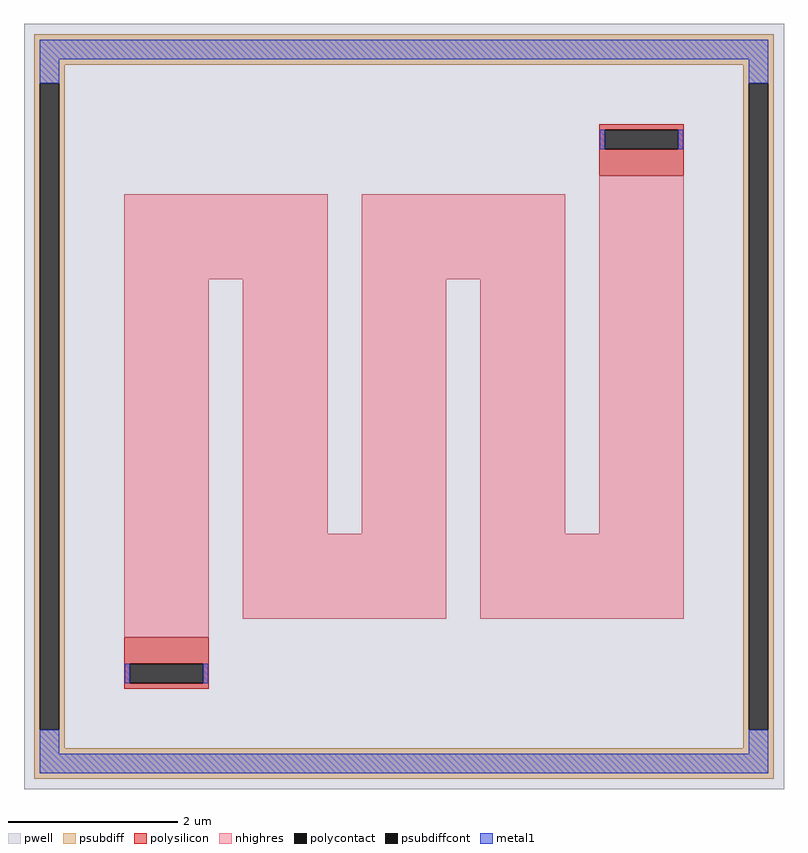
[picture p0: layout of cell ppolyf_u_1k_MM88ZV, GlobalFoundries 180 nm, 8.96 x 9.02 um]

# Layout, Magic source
magic
tech gf180mcuD
magscale 1 10
<< pwell >>
rect -896 -902 896 902
<< psubdiff >>
rect -872 806 872 878
rect -872 762 -800 806
rect -872 -762 -859 762
rect -813 -762 -800 762
rect 800 762 872 806
rect -872 -806 -800 -762
rect 800 -762 813 762
rect 859 -762 872 762
rect 800 -806 872 -762
rect -872 -878 872 -806
<< psubdiffcont >>
rect -859 -762 -813 762
rect 813 -762 859 762
<< polysilicon >>
rect 460 653 660 666
rect 460 607 473 653
rect 647 607 660 653
rect 460 544 660 607
rect -660 -607 -460 -544
rect -660 -653 -647 -607
rect -473 -653 -460 -607
rect -660 -666 -460 -653
<< polycontact >>
rect 473 607 647 653
rect -647 -653 -473 -607
<< nhighres >>
rect -660 300 -180 500
rect -660 -544 -460 300
rect -380 -300 -180 300
rect -100 300 380 500
rect -100 -300 100 300
rect -380 -500 100 -300
rect 180 -300 380 300
rect 460 -300 660 544
rect 180 -500 660 -300
<< metal1 >>
rect -859 819 859 865
rect -859 762 -813 819
rect 813 762 859 819
rect 462 607 473 653
rect 647 607 658 653
rect -658 -653 -647 -607
rect -473 -653 -462 -607
rect -859 -819 -813 -762
rect 813 -819 859 -762
rect -859 -865 859 -819
<< properties >>
string FIXED_BBOX -836 -842 836 842
string gencell ppolyf_u_1k
string library gf180mcu
string parameters w 1.0 l 5.0 m 1 nx 5 wmin 1.000 lmin 1.000 class resistor rho 1000 val 30.6k dummy 0 dw 0.0 term 0.0 sterm 0.0 caplen 0.4 snake 1 glc 1 grc 1 gtc 0 gbc 0 roverlap 0 endcov 100 full_metal 1 compatible {ppolyf_u_1k ppolyf_u_1k_6p0}
<< end >>
